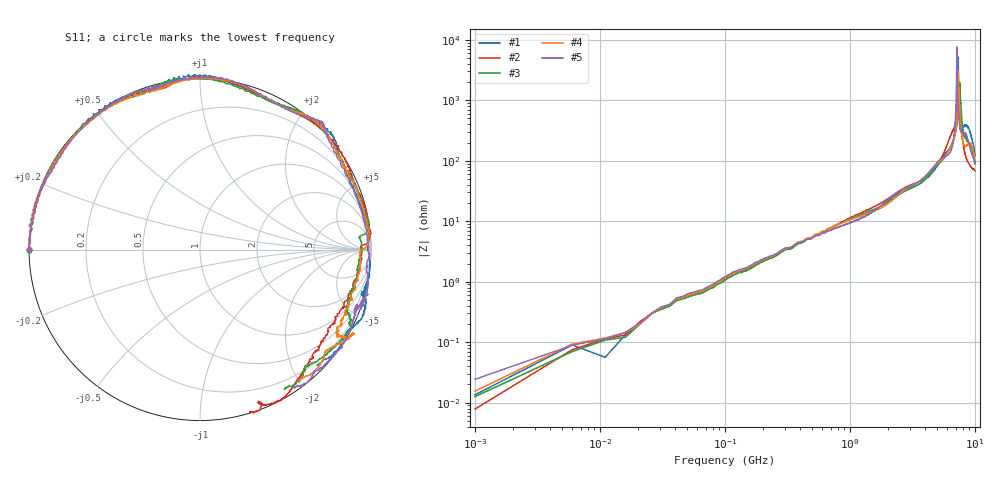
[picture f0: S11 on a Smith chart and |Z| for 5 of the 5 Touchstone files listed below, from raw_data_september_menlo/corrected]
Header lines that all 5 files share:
! Created with skrf 1.8.0 (http://scikit-rf.org).
# GHz S RI R 50.0
!freq ReS11 ImS11
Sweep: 1 MHz to 10 GHz
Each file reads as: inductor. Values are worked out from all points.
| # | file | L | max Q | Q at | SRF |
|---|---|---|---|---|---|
| 1 | rf2_corrected.s1p | 1.75 nH | 435 | 2.586 GHz | 7.31 GHz |
| 2 | rf3_corrected.s1p | 1.65 nH | 312 | 2.056 GHz | 7.464 GHz |
| 3 | rf4_corrected.s1p | 1.63 nH | - | - | 7.553 GHz |
| 4 | rf5_corrected.s1p | 1.75 nH | 379 | 4.141 GHz | 7.375 GHz |
| 5 | rf6_corrected.s1p | 1.86 nH | 631 | 2.336 GHz | 7.165 GHz |
